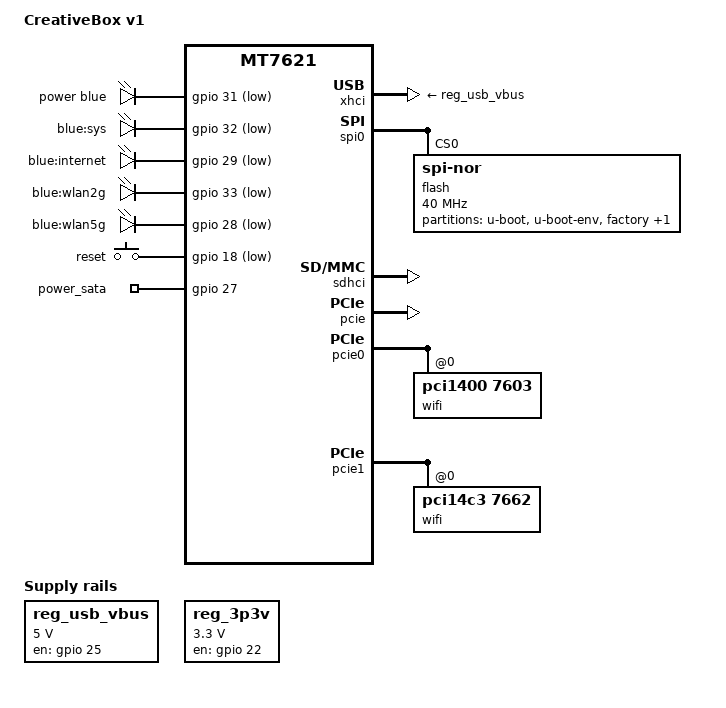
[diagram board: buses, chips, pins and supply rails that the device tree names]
// SPDX-License-Identifier: GPL-2.0-or-later OR MIT

#include "mt7621.dtsi"

#include <dt-bindings/gpio/gpio.h>
#include <dt-bindings/input/input.h>
#include <dt-bindings/leds/common.h>

/ {
	compatible = "xzwifi,creativebox-v1", "mediatek,mt7621-soc";
	model = "CreativeBox v1";

	aliases {
		led-boot = &led_sys;
		led-failsafe = &led_sys;
		led-running = &led_sys;
		led-upgrade = &led_sys;
	};

	chosen {
		bootargs = "console=ttyS0,115200";
	};

	leds {
		compatible = "gpio-leds";

		power {
			function = LED_FUNCTION_POWER;
			color = <LED_COLOR_ID_BLUE>;
			gpios = <&gpio 31 GPIO_ACTIVE_LOW>;
			default-state = "on";
		};

		led_sys: sys {
			label = "blue:sys";
			gpios = <&gpio 32 GPIO_ACTIVE_LOW>;
		};

		internet {
			label = "blue:internet";
			gpios = <&gpio 29 GPIO_ACTIVE_LOW>;
		};

		wlan2g {
			label = "blue:wlan2g";
			gpios = <&gpio 33 GPIO_ACTIVE_LOW>;
			linux,default-trigger = "phy0tpt";
		};

		wlan5g {
			label = "blue:wlan5g";
			gpios = <&gpio 28 GPIO_ACTIVE_LOW>;
			linux,default-trigger = "phy1tpt";
		};
	};

	keys {
		compatible = "gpio-keys";

		reset {
			label = "reset";
			gpios = <&gpio 18 GPIO_ACTIVE_LOW>;
			linux,code = <KEY_RESTART>;
		};
	};

	gpio_export {
		compatible = "gpio-export";

		power_sata {
			gpio-export,name = "power_sata";
			gpio-export,output = <1>;
			gpios = <&gpio 27 GPIO_ACTIVE_HIGH>;
		};
	};

	reg_usb_vbus: regulator-usb {
		compatible = "regulator-fixed";
		regulator-name = "usb_vbus";
		regulator-min-microvolt = <5000000>;
		regulator-max-microvolt = <5000000>;
		gpios = <&gpio 25 GPIO_ACTIVE_HIGH>;
		enable-active-high;
	};

	reg_3p3v: regulator-3p3v {
		compatible = "regulator-fixed";
		regulator-name = "fixed-3.3V";
		regulator-min-microvolt = <3300000>;
		regulator-max-microvolt = <3300000>;
		gpios = <&gpio 22 GPIO_ACTIVE_HIGH>;
		enable-active-high;
	};
};

&xhci {
	vusb33-supply = <&reg_3p3v>;
	vbus-supply = <&reg_usb_vbus>;
};

&spi0 {
	status = "okay";

	flash@0 {
		compatible = "jedec,spi-nor";
		reg = <0>;
		spi-max-frequency = <40000000>;
		broken-flash-reset;

		partitions {
			compatible = "fixed-partitions";
			#address-cells = <1>;
			#size-cells = <1>;

			partition@0 {
				label = "u-boot";
				reg = <0x0 0x30000>;
				read-only;
			};

			partition@30000 {
				label = "u-boot-env";
				reg = <0x30000 0x10000>;
				read-only;
			};

			partition@40000 {
				label = "factory";
				reg = <0x40000 0x10000>;
				read-only;

				nvmem-layout {
					compatible = "fixed-layout";
					#address-cells = <1>;
					#size-cells = <1>;

					eeprom_factory_0: eeprom@0 {
						reg = <0x0 0x400>;
					};

					eeprom_factory_8000: eeprom@8000 {
						reg = <0x8000 0x200>;
					};

					macaddr_factory_e000: macaddr@e000 {
						compatible = "mac-base";
						reg = <0xe000 0x6>;
						#nvmem-cell-cells = <1>;
					};
				};
			};

			partition@50000 {
				compatible = "denx,uimage";
				label = "firmware";
				reg = <0x50000 0x1fb0000>;
			};
		};
	};
};

&sdhci {
	status = "okay";
};

&pcie {
	status = "okay";
};

&pcie0 {
	wifi@0,0 {
		compatible = "pci1400,7603";
		reg = <0x0000 0 0 0 0>;
		nvmem-cells = <&eeprom_factory_0>;
		nvmem-cell-names = "eeprom";
	};
};

&pcie1 {
	wifi@0,0 {
		compatible = "pci14c3,7662";
		reg = <0x0000 0 0 0 0>;
		nvmem-cells = <&eeprom_factory_8000>;
		nvmem-cell-names = "eeprom";
		ieee80211-freq-limit = <5000000 6000000>;
	};
};

&ethernet {
	pinctrl-0 = <&mdio_pins>, <&rgmii1_pins>;
};

&gmac0 {
	nvmem-cells = <&macaddr_factory_e000 0>;
	nvmem-cell-names = "mac-address";
};

&switch0 {
	ports {
		port@0 {
			status = "okay";
			label = "lan1";
		};

		port@1 {
			status = "okay";
			label = "lan2";
		};

		port@2 {
			status = "okay";
			label = "lan3";
		};

		port@3 {
			status = "okay";
			label = "lan4";
		};

		port@4 {
			status = "okay";
			label = "wan";
			nvmem-cells = <&macaddr_factory_e000 1>;
			nvmem-cell-names = "mac-address";
		};
	};
};

&state_default {
	gpio {
		groups = "wdt", "rgmii2";
		function = "gpio";
	};
};
